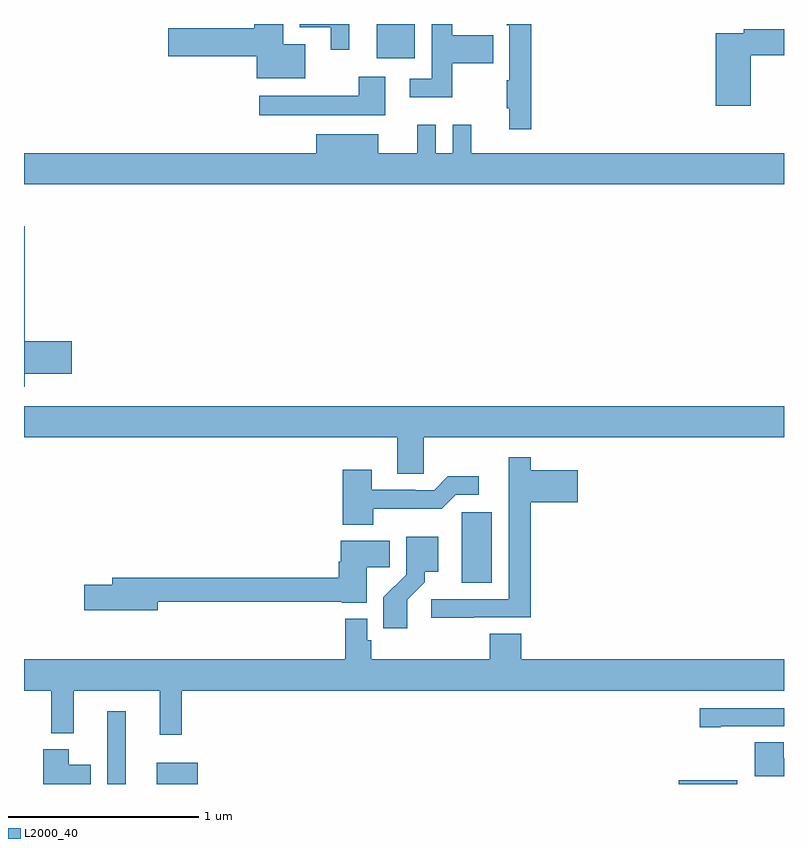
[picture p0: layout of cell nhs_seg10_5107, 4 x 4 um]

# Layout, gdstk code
import gdstk
lib = gdstk.Library(unit=1e-6, precision=1e-09)
def R(c, l, rs):  # rectangles x0, y0, x1, y1
    for r in rs: c.add(gdstk.rectangle(r[:2], r[2:], *l))
def P(c, l, *ps):  # polygons
    for p in ps: c.add(gdstk.Polygon(p, *l))
L2000_40 = (2000, 40)

nhs_seg10_5107 = lib.new_cell('nhs_seg10_5107')
R(nhs_seg10_5107, L2000_40, [(407.439,1290.5,407.536,1290.883), (407.699,1290.5,407.914,1290.613), (410.447,1290.5,410.755,1290.52), (409.304,1291.558,409.462,1291.929), (408.857,1294.319,409.057,1294.5)])
P(nhs_seg10_5107, L2000_40, [(408.712,1294.5),(408.452,1294.5),(408.452,1294.482),(408.614,1294.482),(408.614,1294.365),(408.712,1294.365)],
  [(409.67,1294.5),(409.542,1294.5),(409.542,1294.493),(409.554,1294.493),(409.554,1294.205),(409.542,1294.205),(409.542,1294.057),(409.553,1294.057),(409.553,1293.945),(409.67,1293.945)],
  [(408.481,1294.393),(408.364,1294.393),(408.364,1294.5),(408.212,1294.5),(408.212,1294.478),(407.76,1294.478),(407.76,1294.331),(408.224,1294.331),(408.224,1294.214),(408.481,1294.214)],
  [(409.255,1294.294),(409.469,1294.294),(409.469,1294.441),(409.255,1294.441),(409.255,1294.5),(409.146,1294.5),(409.146,1294.212),(409.029,1294.212),(409.029,1294.115),(409.255,1294.115)],
  [(410.825,1294.336),(411,1294.336),(411,1294.472),(410.788,1294.472),(410.788,1294.452),(410.642,1294.452),(410.642,1294.071),(410.825,1294.071)],
  [(408.901,1294.222),(408.761,1294.222),(408.761,1294.123),(408.237,1294.123),(408.237,1294.019),(408.901,1294.019)],
  [(411,1293.82),(409.355,1293.82),(409.355,1293.97),(409.257,1293.97),(409.257,1293.82),(409.167,1293.82),(409.167,1293.97),(409.07,1293.97),(409.07,1293.82),(408.865,1293.82),(408.865,1293.919),(408.539,1293.919),(408.539,1293.82),(407,1293.82),(407,1293.656),(411,1293.656)],
  [(407.003,1292.66),(407.251,1292.66),(407.251,1292.831),(407.003,1292.831),(407.003,1293.435),(407,1293.435),(407,1292.592),(407.003,1292.592)],
  [(409.104,1292.324),(411,1292.324),(411,1292.488),(407,1292.488),(407,1292.324),(408.965,1292.324),(408.965,1292.134),(409.104,1292.134)],
  [(409.367,1291.377),(409.667,1291.377),(409.667,1291.982),(409.915,1291.982),(409.915,1292.152),(409.667,1292.152),(409.667,1292.221),(409.55,1292.221),(409.55,1291.998),(409.551,1291.998),(409.551,1291.473),(409.143,1291.473),(409.143,1291.375),(409.367,1291.375)],
  [(408.837,1291.95),(409.199,1291.95),(409.272,1292.022),(409.393,1292.022),(409.393,1292.119),(409.231,1292.119),(409.158,1292.046),(409.058,1292.046),(409.058,1292.049),(408.829,1292.049),(408.829,1292.155),(408.677,1292.155),(408.677,1291.865),(408.837,1291.865)],
  [(409.018,1291.471),(409.108,1291.561),(409.108,1291.616),(409.18,1291.616),(409.18,1291.801),(409.013,1291.801),(409.013,1291.752),(409.011,1291.752),(409.011,1291.601),(408.892,1291.482),(408.892,1291.32),(409.018,1291.32)],
  [(407.704,1291.458),(408.672,1291.458),(408.672,1291.454),(408.805,1291.454),(408.805,1291.642),(408.926,1291.642),(408.926,1291.78),(408.668,1291.78),(408.668,1291.67),(408.656,1291.67),(408.656,1291.586),(407.465,1291.586),(407.465,1291.55),(407.316,1291.55),(407.316,1291.415),(407.704,1291.415)],
  [(407,1290.992),(407.143,1290.992),(407.143,1290.767),(407.261,1290.767),(407.261,1290.992),(407.714,1290.992),(407.714,1290.759),(407.831,1290.759),(407.831,1290.992),(411,1290.992),(411,1291.156),(409.616,1291.156),(409.616,1291.292),(409.451,1291.292),(409.451,1291.156),(408.827,1291.156),(408.827,1291.257),(408.807,1291.257),(408.807,1291.369),(408.691,1291.369),(408.691,1291.156),(407,1291.156)],
  [(410.668,1290.804),(411,1290.804),(411,1290.9),(410.556,1290.9),(410.556,1290.799),(410.668,1290.799)],
  [(411,1290.636),(410.998,1290.636),(410.998,1290.719),(410.846,1290.719),(410.846,1290.54),(411,1290.54)],
  [(407.35,1290.601),(407.236,1290.601),(407.236,1290.682),(407.102,1290.682),(407.102,1290.5),(407.35,1290.5)])

lib.write_gds('nhs_seg10_5107.gds')
